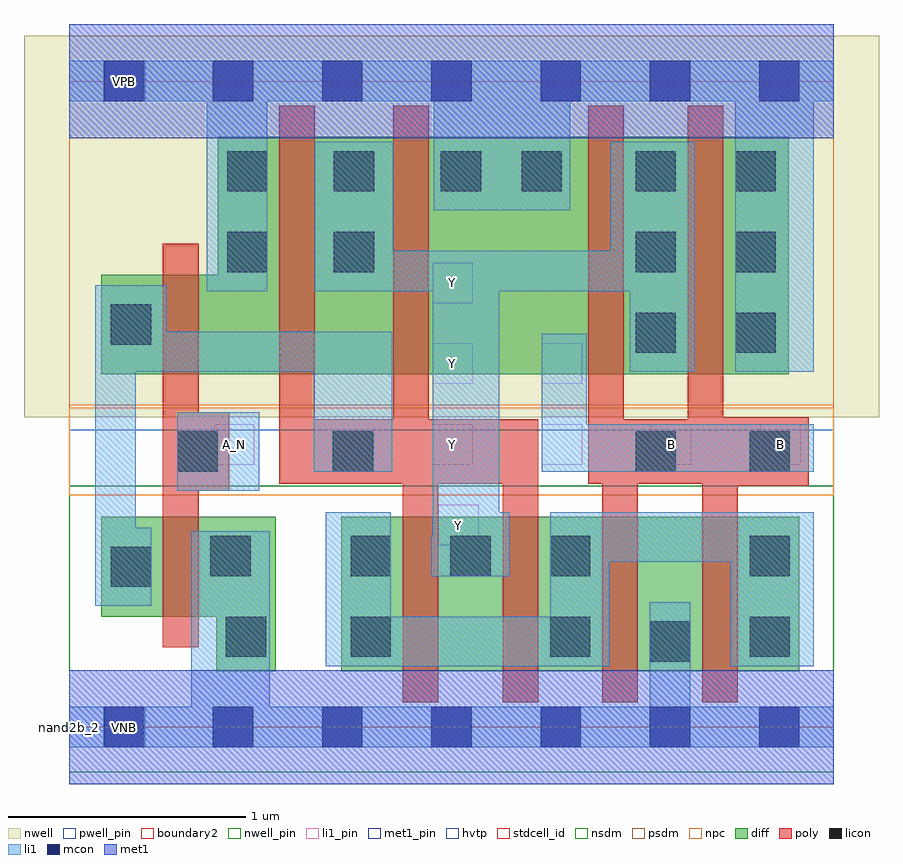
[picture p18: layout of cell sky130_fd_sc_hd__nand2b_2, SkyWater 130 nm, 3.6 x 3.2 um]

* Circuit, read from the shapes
.subckt sky130_fd_sc_hd__nand2b_2 A_N B VGND VNB VPB VPWR Y
XM1 VGND A_N n1 VNB sky130_fd_pr__nfet_01v8 w=0.42 l=0.15
XM2 Y n1 n2 VNB sky130_fd_pr__nfet_01v8 w=0.65 l=0.15 m=2
XM3 VGND B n2 VNB sky130_fd_pr__nfet_01v8 w=0.65 l=0.15 m=2
XM4 VPWR A_N n1 VPB sky130_fd_pr__pfet_01v8_hvt w=0.42 l=0.15
XM5 Y n1 VPWR VPB sky130_fd_pr__pfet_01v8_hvt w=1 l=0.15 m=2
XM6 Y B VPWR VPB sky130_fd_pr__pfet_01v8_hvt w=1 l=0.15 m=2
.ends

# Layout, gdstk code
import gdstk
lib = gdstk.Library(unit=1e-6, precision=1e-09)
def R(c, l, rs):  # rectangles x0, y0, x1, y1
    for r in rs: c.add(gdstk.rectangle(r[:2], r[2:], *l))
def A(c, l, x, y, w, h, nx, ny, dx, dy):  # array of equal rectangles
    R(c, l, [(x+i*dx, y+j*dy, x+i*dx+w, y+j*dy+h) for i in range(nx) for j in range(ny)])
def P(c, l, *ps):  # polygons
    for p in ps: c.add(gdstk.Polygon(p, *l))
nwell_pin = (64, 16)
nwell = (64, 20)
diff = (65, 20)
poly = (66, 20)
licon = (66, 44)
li1_pin = (67, 16)
li1 = (67, 20)
mcon = (67, 44)
met1_pin = (68, 16)
met1 = (68, 20)
hvtp = (78, 44)
stdcell_id = (81, 4)
nsdm = (93, 44)
psdm = (94, 20)
npc = (95, 20)
pwell_pin = (122, 16)
boundary2 = (236, 0)

sky130_fd_sc_hd__nand2b_ = lib.new_cell('sky130_fd_sc_hd__nand2b_2')
R(sky130_fd_sc_hd__nand2b_, nwell_pin, [(0.15,2.635,0.32,2.805)])
R(sky130_fd_sc_hd__nand2b_, nwell, [(-0.19,1.305,3.41,2.91)])
R(sky130_fd_sc_hd__nand2b_, diff, [(1.145,0.235,3.075,0.885)])
P(sky130_fd_sc_hd__nand2b_, diff, [(3.03,2.485),(0.625,2.485),(0.625,1.905),(0.135,1.905),(0.135,1.485),(3.03,1.485)],
  [(0.87,0.885),(0.135,0.885),(0.135,0.465),(0.62,0.465),(0.62,0.235),(0.87,0.235)])
R(sky130_fd_sc_hd__nand2b_, poly, [(2.815,1.015,3.115,1.025), (2.185,1.295,2.335,2.615), (2.605,1.295,2.755,2.615), (2.755,1.295,3.115,1.305)])
P(sky130_fd_sc_hd__nand2b_, poly, [(3.115,1.295),(2.185,1.295),(2.185,1.025),(2.245,1.025),(2.245,0.105),(2.395,0.105),(2.395,1.025),(2.665,1.025),(2.665,0.105),(2.815,0.105),(2.815,1.025),(3.115,1.025)],
  [(0.675,1.325),(0.545,1.325),(0.545,2.035),(0.395,2.035),(0.395,0.335),(0.545,0.335),(0.545,0.995),(0.675,0.995)],
  [(1.975,1.295),(1.515,1.295),(1.515,2.615),(1.365,2.615),(1.365,1.295),(1.035,1.295),(1.035,2.615),(0.885,2.615),(0.885,1.025),(1.405,1.025),(1.405,0.105),(1.555,0.105),(1.555,1.025),(1.825,1.025),(1.825,0.105),(1.975,0.105)])
A(sky130_fd_sc_hd__nand2b_, licon, 1.185, 0.295, 0.17, 0.17, 3, 1, 0.84, 0)
A(sky130_fd_sc_hd__nand2b_, licon, 1.185, 0.635, 0.17, 0.17, 3, 1, 0.42, 0)
A(sky130_fd_sc_hd__nand2b_, licon, 2.385, 1.575, 0.17, 0.17, 1, 3, 0, 0.34)
A(sky130_fd_sc_hd__nand2b_, licon, 2.805, 1.575, 0.17, 0.17, 1, 3, 0, 0.34)
A(sky130_fd_sc_hd__nand2b_, licon, 0.665, 2.255, 0.17, 0.17, 3, 1, 0.45, 0)
R(sky130_fd_sc_hd__nand2b_, licon, [(2.445,0.275,2.615,0.445), (0.66,0.295,0.83,0.465), (0.175,0.59,0.345,0.76), (0.595,0.635,0.765,0.805), (2.865,0.635,3.035,0.805), (0.455,1.075,0.625,1.245), (1.11,1.075,1.28,1.245), (2.385,1.075,2.555,1.245), (2.865,1.075,3.035,1.245), (0.175,1.61,0.345,1.78), (0.665,1.915,0.835,2.085), (1.115,1.915,1.285,2.085), (1.905,2.255,2.075,2.425)])
A(sky130_fd_sc_hd__nand2b_, li1_pin, 1.53, 1.105, 0.17, 0.17, 4, 1, 0.46, 0)
R(sky130_fd_sc_hd__nand2b_, li1_pin, [(1.555,0.765,1.725,0.935), (0.61,1.105,0.78,1.275), (1.53,1.445,1.7,1.615), (1.99,1.445,2.16,1.615), (1.53,1.785,1.7,1.955)])
R(sky130_fd_sc_hd__nand2b_, li1, [(0.455,0.995,0.8,1.325)])
P(sky130_fd_sc_hd__nand2b_, li1, [(3.135,0.905),(2.025,0.905),(2.025,0.465),(1.355,0.465),(1.355,0.905),(1.08,0.905),(1.08,0.255),(2.275,0.255),(2.275,0.695),(2.785,0.695),(2.785,0.255),(3.135,0.255)],
  [(1.99,1.075),(1.99,1.655),(2.18,1.655),(2.18,1.275),(3.135,1.275),(3.135,1.075)],
  [(2.635,2.465),(2.28,2.465),(2.28,2.005),(1.365,2.005),(1.365,2.465),(1.035,2.465),(1.035,1.835),(1.53,1.835),(1.53,0.805),(1.525,0.805),(1.525,0.635),(1.855,0.635),(1.855,0.905),(1.81,0.905),(1.81,1.835),(2.36,1.835),(2.36,1.495),(2.635,1.495)],
  [(1.36,1.665),(0.41,1.665),(0.41,1.86),(0.11,1.86),(0.11,0.51),(0.345,0.51),(0.345,0.84),(0.28,0.84),(0.28,1.495),(1.03,1.495),(1.03,1.075),(1.36,1.075)],
  [(3.22,0.085),(2.615,0.085),(2.615,0.525),(2.445,0.525),(2.445,0.085),(0.845,0.085),(0.845,0.825),(0.515,0.825),(0.515,0.085),(0,0.085),(0,-0.085),(3.22,-0.085)],
  [(3.22,2.805),(0,2.805),(0,2.635),(0.58,2.635),(0.58,1.835),(0.835,1.835),(0.835,2.635),(1.535,2.635),(1.535,2.175),(2.11,2.175),(2.11,2.635),(2.805,2.635),(2.805,1.495),(3.135,1.495),(3.135,2.635),(3.22,2.635)])
A(sky130_fd_sc_hd__nand2b_, mcon, 0.145, -0.085, 0.17, 0.17, 7, 2, 0.46, 2.72)
R(sky130_fd_sc_hd__nand2b_, met1_pin, [(0.15,-0.085,0.32,0.085), (0.15,2.635,0.32,2.805)])
R(sky130_fd_sc_hd__nand2b_, hvtp, [(0,1.25,3.22,2.72)])
R(sky130_fd_sc_hd__nand2b_, stdcell_id, [(0,0,3.22,2.72)])
R(sky130_fd_sc_hd__nand2b_, nsdm, [(0,-0.19,3.22,1.015)])
R(sky130_fd_sc_hd__nand2b_, psdm, [(0,1.355,3.22,2.91)])
R(sky130_fd_sc_hd__nand2b_, npc, [(0,0.975,3.22,1.345)])
R(sky130_fd_sc_hd__nand2b_, pwell_pin, [(0.15,-0.085,0.32,0.085)])
R(sky130_fd_sc_hd__nand2b_, boundary2, [(0,0,3.22,2.72)])
sky130_fd_sc_hd__nand2b_.add(gdstk.FlexPath([(0,2.72),(3.22,2.72)], 0.48, ends="flush", simple_path=True, layer=68, datatype=20))  # met1
sky130_fd_sc_hd__nand2b_.add(gdstk.FlexPath([(0,0),(3.22,0)], 0.48, ends="flush", simple_path=True, layer=68, datatype=20))  # met1
sky130_fd_sc_hd__nand2b_.add(gdstk.Label('B', (2.995,1.19), layer=67, texttype=5))
sky130_fd_sc_hd__nand2b_.add(gdstk.Label('B', (2.535,1.19), layer=67, texttype=5))
sky130_fd_sc_hd__nand2b_.add(gdstk.Label('Y', (1.64,0.85), layer=67, texttype=5))
sky130_fd_sc_hd__nand2b_.add(gdstk.Label('Y', (1.615,1.19), layer=67, texttype=5))
sky130_fd_sc_hd__nand2b_.add(gdstk.Label('Y', (1.615,1.53), layer=67, texttype=5))
sky130_fd_sc_hd__nand2b_.add(gdstk.Label('Y', (1.615,1.87), layer=67, texttype=5))
sky130_fd_sc_hd__nand2b_.add(gdstk.Label('A_N', (0.695,1.19), layer=67, texttype=5))
sky130_fd_sc_hd__nand2b_.add(gdstk.Label('VNB', (0.235,0), layer=64, texttype=59))
sky130_fd_sc_hd__nand2b_.add(gdstk.Label('VPB', (0.235,2.72), layer=64, texttype=5))
sky130_fd_sc_hd__nand2b_.add(gdstk.Label('VGND', (0.235,0), layer=68, texttype=5))
sky130_fd_sc_hd__nand2b_.add(gdstk.Label('VPWR', (0.235,2.72), layer=68, texttype=5))
sky130_fd_sc_hd__nand2b_.add(gdstk.Label('nand2b_2', (0,0), layer=83, texttype=44))

lib.write_gds('sky130_fd_sc_hd__nand2b_2.gds')
